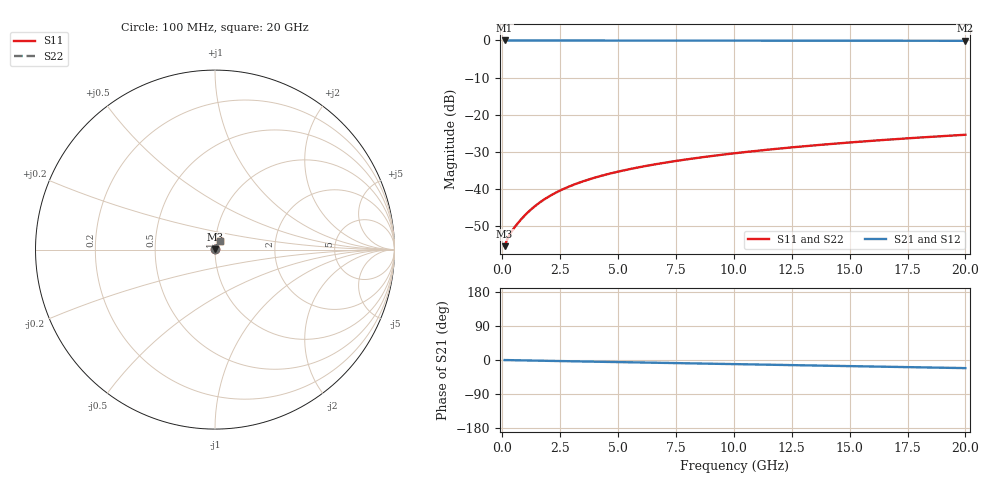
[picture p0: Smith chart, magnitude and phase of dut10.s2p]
! Touchstone file exported from HFSS 2026.1.0
!  File:  C:/ffzhzh/LocalFiles/Ansys_Project_Files/temp_train_TMRDL_10_1782879969_5636.aedt
!  Generated:  12:28:56 PM Jul  1, 2026
!  Design:  TMRDL
!  Project:  temp_train_TMRDL_10_1782879969_5636
! Variables:
!  h_bsmrdl = 2um
!  h_ox = 20um
!  h_rdl = 5um
!  h_sub = 80um
!  h_tmrdl = 5.68um
!  h_tsv = 80um
!  h_via = 3um
!  l_bsmrdl = 300um
!  l_sub = 779.12um
!  l_tmrdl = 379.12um
!  m_sub = 200um
!  pitch = 23.31um
!  r_tsv = 6um
!  s_tmrdl = 10um
!  w_bsmrdl = 18um
!  w_sub = 500um
!  w_tmrdl = 16.62um
!  x_tsv_center1 = 387.43um
!  x_tsv_center2 = 705.43um
!  x_tsv_center3 = 1101.17um
!  x_tsv_center4 = 1419.17um
!  x_tsv_center5 = 1814.91um
!  x_tsv_center6 = 2132.91um
# GHz S MA R 50.000000
! Terminal data exported
! Port[1] = TM_RDL1_1_T1
! Port[2] = TM_RDL1_1_T2
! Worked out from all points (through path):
!   200 points, 100 MHz to 20 GHz, reference 50 ohm
!   highest |S21| = -0.01 dB at 100 MHz (marker M1); lowest = -0.1 dB at 20 GHz (marker M2)
!   group delay of S21, straight-line fit = 2.96 ps
!   lowest |S11| = -55.4 dB at 100 MHz (marker M3), VSWR 1.00, Z = 50.2 + j0.0592 ohm
!   |S11| at or under -10 dB: start of sweep to end of sweep
!   |S22| runs from -55.4 to -25.4 dB; largest |S21 - S12| = 7.1e-15
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0.1  0.001696 20.4  0.9984 -0.1  0.9984 -0.1  0.001696 20.4
! Gamma 0 0 0 0
! Port Impedance 50 0 50 0
0.2  0.002049 30.9  0.9982 -0.2  0.9982 -0.2  0.002049 30.9
0.3  0.002374 36.9  0.9981 -0.4  0.9981 -0.4  0.002374 36.9
0.5  0.002957 45.5  0.9979 -0.6  0.9979 -0.6  0.002957 45.5
0.7  0.003549 51.8  0.9978 -0.8  0.9978 -0.8  0.003549 51.8
0.9  0.004175 56.5  0.9977 -1.0  0.9977 -1.0  0.004175 56.5
1.1  0.004827 59.9  0.9976 -1.3  0.9976 -1.3  0.004827 59.9
1.4  0.005833 63.3  0.9975 -1.6  0.9975 -1.6  0.005833 63.3
1.8  0.007189 65.9  0.9973 -2.0  0.9973 -2.0  0.00719 65.9
2.3  0.008869 67.5  0.9969 -2.6  0.9969 -2.6  0.008869 67.5
2.9  0.01082 68.3  0.9965 -3.2  0.9965 -3.2  0.01083 68.3
3.5  0.0127 68.4  0.9961 -3.9  0.9961 -3.9  0.0127 68.4
4.2  0.0148 68.3  0.9956 -4.7  0.9956 -4.7  0.0148 68.3
4.9  0.01682 68.0  0.9951 -5.4  0.9951 -5.4  0.01682 68.0
5.8  0.01931 67.5  0.9945 -6.4  0.9945 -6.4  0.01931 67.5
6.8  0.02198 67.0  0.9939 -7.5  0.9939 -7.5  0.02199 67.0
8.3  0.02587 66.1  0.993 -9.1  0.993 -9.1  0.02587 66.1
10.1  0.0304 65.0  0.9922 -11.0  0.9922 -11.0  0.0304 65.0
11.7  0.03434 64.0  0.9914 -12.7  0.9914 -12.7  0.03434 63.9
13.4  0.03844 62.7  0.9907 -14.5  0.9907 -14.5  0.03845 62.7
16.7  0.04619 60.2  0.9893 -17.9  0.9893 -17.9  0.0462 60.1
20  0.05365 57.4  0.988 -21.4  0.988 -21.4  0.05366 57.4
